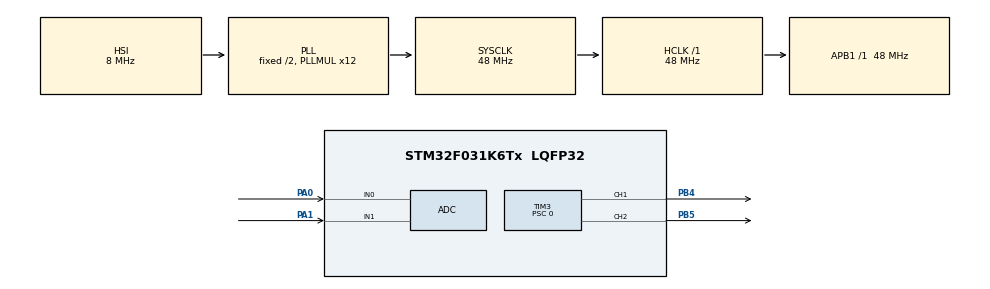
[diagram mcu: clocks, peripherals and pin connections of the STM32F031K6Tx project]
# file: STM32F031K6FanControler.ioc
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ADC.ContinuousConvMode=ENABLE
ADC.DMAContinuousRequests=ENABLE
ADC.DiscontinuousConvMode=DISABLE
Dma.ADC.0.Direction=DMA_PERIPH_TO_MEMORY
Dma.ADC.0.Instance=DMA1_Channel2
Dma.ADC.0.MemDataAlignment=DMA_MDATAALIGN_WORD
Dma.ADC.0.MemInc=DMA_MINC_ENABLE
Dma.ADC.0.Mode=DMA_CIRCULAR
Dma.ADC.0.PeriphDataAlignment=DMA_PDATAALIGN_WORD
Dma.ADC.0.PeriphInc=DMA_PINC_DISABLE
Dma.ADC.0.Priority=DMA_PRIORITY_LOW
Dma.Request0=ADC
Mcu.Family=STM32F0
Mcu.Name=STM32F031K6Tx
Mcu.Package=LQFP32
NVIC.DMA1_Channel2_3_IRQn=true\:0\:0\:false\:false\:true\:false\:true\:true
PA0.Mode=IN0
PA0.Signal=ADC_IN0
PA1.Mode=IN1
PA1.Signal=ADC_IN1
PB4.Signal=S_TIM3_CH1
PB5.Signal=S_TIM3_CH2
ProjectManager.HeapSize=0x200
ProjectManager.StackSize=0x400
ProjectManager.TargetToolchain=STM32CubeIDE
RCC.AHBFreq_Value=48000000
RCC.APB1Freq_Value=48000000
RCC.APB1TimFreq_Value=48000000
RCC.HCLKFreq_Value=48000000
RCC.PLLMUL=RCC_PLL_MUL12
RCC.SYSCLKFreq_VALUE=48000000
RCC.SYSCLKSource=RCC_SYSCLKSOURCE_PLLCLK
SH.S_TIM3_CH1.0=TIM3_CH1,PWM Generation1 CH1
SH.S_TIM3_CH2.0=TIM3_CH2,PWM Generation2 CH2
TIM3.AutoReloadPreload=TIM_AUTORELOAD_PRELOAD_ENABLE
TIM3.Channel-PWM\ Generation1\ CH1=TIM_CHANNEL_1
TIM3.Channel-PWM\ Generation2\ CH2=TIM_CHANNEL_2
TIM3.Period=1919
TIM3.Prescaler=0
board=custom

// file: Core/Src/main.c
/* USER CODE BEGIN Header */
/**
  ******************************************************************************
  * @file           : main.c
  * @brief          : Main program body
  ******************************************************************************
  * @attention
  *
  * Copyright (c) 2025 STMicroelectronics.
  * All rights reserved.
  *
  * This software is licensed under terms that can be found in the LICENSE file
  * in the root directory of this software component.
  * If no LICENSE file comes with this software, it is provided AS-IS.
  *
  ******************************************************************************
  */
/* USER CODE END Header */
#include "main.h"

ADC_HandleTypeDef hadc;
DMA_HandleTypeDef hdma_adc;

TIM_HandleTypeDef htim3;

/* USER CODE BEGIN PV */
uint32_t ADC_ValBuffer[2];
int32_t PWM_Setpoint = 0;

/* USER CODE END PV */

void SystemClock_Config(void);
static void MX_GPIO_Init(void);
static void MX_DMA_Init(void);
static void MX_ADC_Init(void);
static void MX_TIM3_Init(void);

int main(void)
{

  /* MCU Configuration--------------------------------------------------------*/

  /* Reset of all peripherals, Initializes the Flash interface and the Systick. */
  HAL_Init();

  /* Configure the system clock */
  SystemClock_Config();

  /* Initialize all configured peripherals */
  MX_GPIO_Init();
  MX_DMA_Init();
  MX_ADC_Init();
  MX_TIM3_Init();
  /* USER CODE BEGIN 2 */
  HAL_TIM_PWM_Start(&htim3, TIM_CHANNEL_1);
  HAL_TIM_PWM_Start(&htim3, TIM_CHANNEL_2);
  HAL_ADC_Start_DMA(&hadc, ADC_ValBuffer, 2);

  /* USER CODE END 2 */

  /* Infinite loop */
  while (1)
  {

  }
}

void SystemClock_Config(void)
{
  RCC_OscInitTypeDef RCC_OscInitStruct = {0};
  RCC_ClkInitTypeDef RCC_ClkInitStruct = {0};

  /** Initializes the RCC Oscillators according to the specified parameters
  * in the RCC_OscInitTypeDef structure.
  */
  RCC_OscInitStruct.OscillatorType = RCC_OSCILLATORTYPE_HSI|RCC_OSCILLATORTYPE_HSI14;
  RCC_OscInitStruct.HSIState = RCC_HSI_ON;
  RCC_OscInitStruct.HSI14State = RCC_HSI14_ON;
  RCC_OscInitStruct.HSICalibrationValue = RCC_HSICALIBRATION_DEFAULT;
  RCC_OscInitStruct.HSI14CalibrationValue = 16;
  RCC_OscInitStruct.PLL.PLLState = RCC_PLL_ON;
  RCC_OscInitStruct.PLL.PLLSource = RCC_PLLSOURCE_HSI;
  RCC_OscInitStruct.PLL.PLLMUL = RCC_PLL_MUL12;
  RCC_OscInitStruct.PLL.PREDIV = RCC_PREDIV_DIV1;
  if (HAL_RCC_OscConfig(&RCC_OscInitStruct) != HAL_OK)
  {
    Error_Handler();
  }

  /** Initializes the CPU, AHB and APB buses clocks
  */
  RCC_ClkInitStruct.ClockType = RCC_CLOCKTYPE_HCLK|RCC_CLOCKTYPE_SYSCLK
                              |RCC_CLOCKTYPE_PCLK1;
  RCC_ClkInitStruct.SYSCLKSource = RCC_SYSCLKSOURCE_PLLCLK;
  RCC_ClkInitStruct.AHBCLKDivider = RCC_SYSCLK_DIV1;
  RCC_ClkInitStruct.APB1CLKDivider = RCC_HCLK_DIV1;

  if (HAL_RCC_ClockConfig(&RCC_ClkInitStruct, FLASH_LATENCY_1) != HAL_OK)
  {
    Error_Handler();
  }
}

static void MX_ADC_Init(void)
{

  ADC_ChannelConfTypeDef sConfig = {0};

  /** Configure the global features of the ADC (Clock, Resolution, Data Alignment and number of conversion)
  */
  hadc.Instance = ADC1;
  hadc.Init.ClockPrescaler = ADC_CLOCK_ASYNC_DIV1;
  hadc.Init.Resolution = ADC_RESOLUTION_12B;
  hadc.Init.DataAlign = ADC_DATAALIGN_RIGHT;
  hadc.Init.ScanConvMode = ADC_SCAN_DIRECTION_FORWARD;
  hadc.Init.EOCSelection = ADC_EOC_SINGLE_CONV;
  hadc.Init.LowPowerAutoWait = DISABLE;
  hadc.Init.LowPowerAutoPowerOff = DISABLE;
  hadc.Init.ContinuousConvMode = ENABLE;
  hadc.Init.DiscontinuousConvMode = DISABLE;
  hadc.Init.ExternalTrigConv = ADC_SOFTWARE_START;
  hadc.Init.ExternalTrigConvEdge = ADC_EXTERNALTRIGCONVEDGE_NONE;
  hadc.Init.DMAContinuousRequests = ENABLE;
  hadc.Init.Overrun = ADC_OVR_DATA_PRESERVED;
  if (HAL_ADC_Init(&hadc) != HAL_OK)
  {
    Error_Handler();
  }

  /** Configure for the selected ADC regular channel to be converted.
  */
  sConfig.Channel = ADC_CHANNEL_0;
  sConfig.Rank = ADC_RANK_CHANNEL_NUMBER;
  sConfig.SamplingTime = ADC_SAMPLETIME_1CYCLE_5;
  if (HAL_ADC_ConfigChannel(&hadc, &sConfig) != HAL_OK)
  {
    Error_Handler();
  }

  /** Configure for the selected ADC regular channel to be converted.
  */
  sConfig.Channel = ADC_CHANNEL_1;
  if (HAL_ADC_ConfigChannel(&hadc, &sConfig) != HAL_OK)
  {
    Error_Handler();
  }

}

static void MX_TIM3_Init(void)
{

  TIM_MasterConfigTypeDef sMasterConfig = {0};
  TIM_OC_InitTypeDef sConfigOC = {0};

  htim3.Instance = TIM3;
  htim3.Init.Prescaler = 0;
  htim3.Init.CounterMode = TIM_COUNTERMODE_UP;
  htim3.Init.Period = 1919;
  htim3.Init.ClockDivision = TIM_CLOCKDIVISION_DIV1;
  htim3.Init.AutoReloadPreload = TIM_AUTORELOAD_PRELOAD_ENABLE;
  if (HAL_TIM_PWM_Init(&htim3) != HAL_OK)
  {
    Error_Handler();
  }
  sMasterConfig.MasterOutputTrigger = TIM_TRGO_RESET;
  sMasterConfig.MasterSlaveMode = TIM_MASTERSLAVEMODE_DISABLE;
  if (HAL_TIMEx_MasterConfigSynchronization(&htim3, &sMasterConfig) != HAL_OK)
  {
    Error_Handler();
  }
  sConfigOC.OCMode = TIM_OCMODE_PWM1;
  sConfigOC.Pulse = 0;
  sConfigOC.OCPolarity = TIM_OCPOLARITY_HIGH;
  sConfigOC.OCFastMode = TIM_OCFAST_DISABLE;
  if (HAL_TIM_PWM_ConfigChannel(&htim3, &sConfigOC, TIM_CHANNEL_1) != HAL_OK)
  {
    Error_Handler();
  }
  if (HAL_TIM_PWM_ConfigChannel(&htim3, &sConfigOC, TIM_CHANNEL_2) != HAL_OK)
  {
    Error_Handler();
  }
  HAL_TIM_MspPostInit(&htim3);

}

static void MX_DMA_Init(void)
{

  /* DMA controller clock enable */
  __HAL_RCC_DMA1_CLK_ENABLE();

  /* DMA interrupt init */
  /* DMA1_Channel2_3_IRQn interrupt configuration */
  HAL_NVIC_SetPriority(DMA1_Channel2_3_IRQn, 0, 0);
  HAL_NVIC_EnableIRQ(DMA1_Channel2_3_IRQn);

}

static void MX_GPIO_Init(void)
{

  /* GPIO Ports Clock Enable */
  __HAL_RCC_GPIOA_CLK_ENABLE();
  __HAL_RCC_GPIOB_CLK_ENABLE();

}

/* USER CODE BEGIN 4 */

static inline uint16_t map_adc_to_pwm(uint16_t adc, uint16_t adcMax, uint16_t pwmMax)
{
	if (adc >= adcMax) return pwmMax;
	if (adc <= 1) return 0;
	return (uint32_t)adc * pwmMax / adcMax;
}

void HAL_ADC_ConvHalfCpltCallback(ADC_HandleTypeDef* hadc)
{

	const uint16_t adcMax = 4030;	// 100 % Poti value corresponds to ADC-Value of 4030
	const uint16_t arr = __HAL_TIM_GET_AUTORELOAD(&htim3); // Timer ARR-Value
	uint16_t adc0 = ADC_ValBuffer[0];
	uint16_t adc1 = ADC_ValBuffer[1];
	uint16_t ccr1 = map_adc_to_pwm(adc0, adcMax, arr);
	uint16_t ccr2 = map_adc_to_pwm(adc1, adcMax, arr);
	// Option: innvert, if necessary
	//ccr1 = arr - ccr1;
	//ccr2 = arr - ccr2;
	__HAL_TIM_SET_COMPARE(&htim3, TIM_CHANNEL_1, ccr1);
	__HAL_TIM_SET_COMPARE(&htim3, TIM_CHANNEL_2, ccr2);
}

/* USER CODE END 4 */

void Error_Handler(void)
{
  __disable_irq();
  while (1)
  {
  }
}
